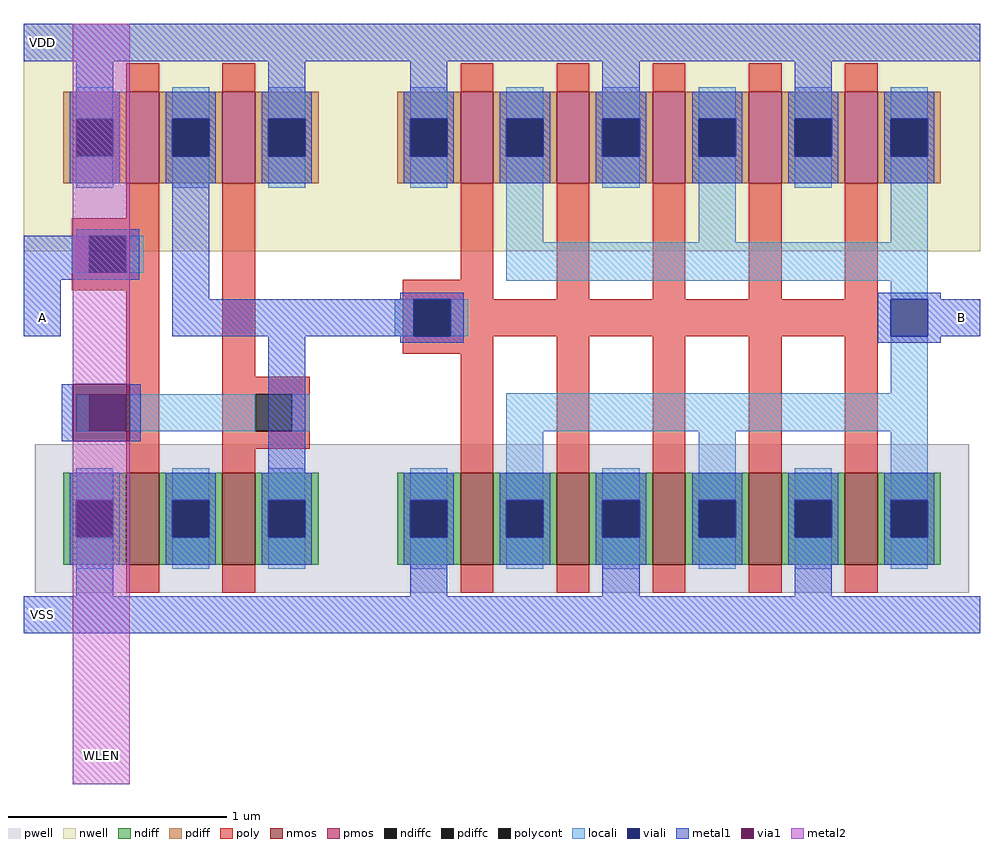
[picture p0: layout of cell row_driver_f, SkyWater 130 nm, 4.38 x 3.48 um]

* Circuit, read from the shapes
.subckt row_driver_f VDD A VSS WLEN B
XM1 n1 A VSS VSUBS sky130_fd_pr__nfet_01v8 w=0.42 l=0.15
XM2 n2 WLEN n1 VSUBS sky130_fd_pr__nfet_01v8 w=0.42 l=0.15
XM3 B n2 VSS VSUBS sky130_fd_pr__nfet_01v8 w=0.42 l=0.15 m=5
XM4 n2 A VDD n3 sky130_fd_pr__pfet_01v8 w=0.42 l=0.15
XM5 VDD WLEN n2 n3 sky130_fd_pr__pfet_01v8 w=0.42 l=0.15
XM6 B n2 VDD n3 sky130_fd_pr__pfet_01v8 w=0.42 l=0.15 m=5
.ends

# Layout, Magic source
magic
tech sky130A
magscale 1 2
<< nwell >>
rect 0 488 876 696
<< pwell >>
rect 10 175 866 311
<< nmos >>
rect 94 201 124 285
rect 182 201 212 285
rect 400 201 430 285
rect 488 201 518 285
rect 576 201 606 285
rect 664 201 694 285
rect 752 201 782 285
<< pmos >>
rect 94 550 124 634
rect 182 550 212 634
rect 400 550 430 634
rect 488 550 518 634
rect 576 550 606 634
rect 664 550 694 634
rect 752 550 782 634
<< ndiff >>
rect 36 260 94 285
rect 36 226 48 260
rect 82 226 94 260
rect 36 201 94 226
rect 124 260 182 285
rect 124 226 136 260
rect 170 226 182 260
rect 124 201 182 226
rect 212 260 270 285
rect 212 226 224 260
rect 258 226 270 260
rect 212 201 270 226
rect 342 260 400 285
rect 342 226 354 260
rect 388 226 400 260
rect 342 201 400 226
rect 430 260 488 285
rect 430 226 442 260
rect 476 226 488 260
rect 430 201 488 226
rect 518 260 576 285
rect 518 226 530 260
rect 564 226 576 260
rect 518 201 576 226
rect 606 260 664 285
rect 606 226 618 260
rect 652 226 664 260
rect 606 201 664 226
rect 694 260 752 285
rect 694 226 706 260
rect 740 226 752 260
rect 694 201 752 226
rect 782 260 840 285
rect 782 226 794 260
rect 828 226 840 260
rect 782 201 840 226
<< pdiff >>
rect 36 609 94 634
rect 36 575 48 609
rect 82 575 94 609
rect 36 550 94 575
rect 124 609 182 634
rect 124 575 136 609
rect 170 575 182 609
rect 124 550 182 575
rect 212 609 270 634
rect 212 575 224 609
rect 258 575 270 609
rect 212 550 270 575
rect 342 609 400 634
rect 342 575 354 609
rect 388 575 400 609
rect 342 550 400 575
rect 430 609 488 634
rect 430 575 442 609
rect 476 575 488 609
rect 430 550 488 575
rect 518 609 576 634
rect 518 575 530 609
rect 564 575 576 609
rect 518 550 576 575
rect 606 609 664 634
rect 606 575 618 609
rect 652 575 664 609
rect 606 550 664 575
rect 694 609 752 634
rect 694 575 706 609
rect 740 575 752 609
rect 694 550 752 575
rect 782 609 840 634
rect 782 575 794 609
rect 828 575 840 609
rect 782 550 840 575
<< ndiffc >>
rect 48 226 82 260
rect 136 226 170 260
rect 224 226 258 260
rect 354 226 388 260
rect 442 226 476 260
rect 530 226 564 260
rect 618 226 652 260
rect 706 226 740 260
rect 794 226 828 260
<< pdiffc >>
rect 48 575 82 609
rect 136 575 170 609
rect 224 575 258 609
rect 354 575 388 609
rect 442 575 476 609
rect 530 575 564 609
rect 618 575 652 609
rect 706 575 740 609
rect 794 575 828 609
<< poly >>
rect 94 634 124 660
rect 182 634 212 660
rect 400 634 430 660
rect 488 634 518 660
rect 576 634 606 660
rect 664 634 694 660
rect 752 634 782 660
rect 94 518 124 550
rect 44 502 124 518
rect 44 468 60 502
rect 94 468 124 502
rect 44 452 124 468
rect 94 285 124 452
rect 182 373 212 550
rect 400 462 430 550
rect 347 444 430 462
rect 488 444 518 550
rect 576 444 606 550
rect 664 444 694 550
rect 752 444 782 550
rect 347 410 357 444
rect 391 410 782 444
rect 347 394 430 410
rect 182 357 262 373
rect 182 323 212 357
rect 246 323 262 357
rect 182 307 262 323
rect 182 285 212 307
rect 400 285 430 394
rect 488 285 518 410
rect 576 285 606 410
rect 664 285 694 410
rect 752 285 782 410
rect 94 175 124 201
rect 182 175 212 201
rect 400 175 430 201
rect 488 175 518 201
rect 576 175 606 201
rect 664 175 694 201
rect 752 175 782 201
<< polycont >>
rect 60 468 94 502
rect 357 410 391 444
rect 212 323 246 357
<< locali >>
rect 48 609 82 638
rect 48 546 82 575
rect 136 609 170 638
rect 136 546 170 575
rect 224 609 258 638
rect 224 546 258 575
rect 354 609 388 638
rect 354 546 388 575
rect 442 609 476 638
rect 44 468 60 502
rect 94 468 110 502
rect 442 496 476 575
rect 530 609 564 638
rect 530 546 564 575
rect 618 609 652 638
rect 618 496 652 575
rect 706 609 740 638
rect 706 546 740 575
rect 794 609 828 638
rect 794 496 828 575
rect 442 461 828 496
rect 794 444 828 461
rect 340 410 357 444
rect 391 410 407 444
rect 794 358 828 410
rect 48 323 60 357
rect 94 323 212 357
rect 246 323 262 357
rect 442 323 828 358
rect 48 260 82 289
rect 48 197 82 226
rect 136 260 170 289
rect 136 197 170 226
rect 224 260 258 289
rect 224 197 258 226
rect 354 260 388 289
rect 354 197 388 226
rect 442 260 476 323
rect 442 197 476 226
rect 530 260 564 289
rect 530 197 564 226
rect 618 260 652 323
rect 618 197 652 226
rect 706 260 740 289
rect 706 197 740 226
rect 794 260 828 323
rect 794 197 828 226
<< viali >>
rect 48 575 82 609
rect 136 575 170 609
rect 224 575 258 609
rect 354 575 388 609
rect 442 575 476 609
rect 60 468 94 502
rect 530 575 564 609
rect 618 575 652 609
rect 706 575 740 609
rect 794 575 828 609
rect 357 410 391 444
rect 794 410 828 444
rect 60 323 94 357
rect 48 226 82 260
rect 136 226 170 260
rect 224 226 258 260
rect 354 226 388 260
rect 442 226 476 260
rect 530 226 564 260
rect 618 226 652 260
rect 706 226 740 260
rect 794 226 828 260
<< metal1 >>
rect 0 662 876 696
rect 48 634 82 662
rect 224 634 258 662
rect 354 634 388 662
rect 530 634 564 662
rect 706 634 740 662
rect 42 609 88 634
rect 42 575 48 609
rect 82 575 88 609
rect 42 550 88 575
rect 130 609 176 634
rect 130 575 136 609
rect 170 575 176 609
rect 130 550 176 575
rect 218 609 264 634
rect 218 575 224 609
rect 258 575 264 609
rect 218 550 264 575
rect 348 609 394 634
rect 348 575 354 609
rect 388 575 394 609
rect 348 550 394 575
rect 436 609 482 634
rect 436 575 442 609
rect 476 575 482 609
rect 436 550 482 575
rect 524 609 570 634
rect 524 575 530 609
rect 564 575 570 609
rect 524 550 570 575
rect 612 609 658 634
rect 612 575 618 609
rect 652 575 658 609
rect 612 550 658 575
rect 700 609 746 634
rect 700 575 706 609
rect 740 575 746 609
rect 700 550 746 575
rect 788 609 834 634
rect 788 575 794 609
rect 828 575 834 609
rect 788 550 834 575
rect 48 502 106 508
rect 0 468 60 502
rect 94 468 106 502
rect 0 462 106 468
rect 0 410 34 462
rect 136 444 170 550
rect 345 444 403 450
rect 136 410 357 444
rect 391 410 403 444
rect 35 314 45 366
rect 97 314 107 366
rect 224 285 258 410
rect 345 404 403 410
rect 782 444 840 450
rect 782 410 794 444
rect 828 410 876 444
rect 782 404 840 410
rect 42 260 88 285
rect 42 226 48 260
rect 82 226 88 260
rect 42 201 88 226
rect 130 260 176 285
rect 130 226 136 260
rect 170 226 176 260
rect 130 201 176 226
rect 218 260 264 285
rect 218 226 224 260
rect 258 226 264 260
rect 218 201 264 226
rect 348 260 394 285
rect 348 226 354 260
rect 388 226 394 260
rect 348 201 394 226
rect 436 260 482 285
rect 436 226 442 260
rect 476 226 482 260
rect 436 201 482 226
rect 524 260 570 285
rect 524 226 530 260
rect 564 226 570 260
rect 524 201 570 226
rect 612 260 658 285
rect 612 226 618 260
rect 652 226 658 260
rect 612 201 658 226
rect 700 260 746 285
rect 700 226 706 260
rect 740 226 746 260
rect 700 201 746 226
rect 788 260 834 285
rect 788 226 794 260
rect 828 226 834 260
rect 788 201 834 226
rect 48 172 82 201
rect 354 172 388 201
rect 530 172 564 201
rect 706 172 740 201
rect 0 138 876 172
<< via1 >>
rect 45 357 97 366
rect 45 323 60 357
rect 60 323 94 357
rect 94 323 97 357
rect 45 314 97 323
<< metal2 >>
rect 45 366 97 696
rect 45 0 97 314
<< labels >>
flabel metal1 s 0 662 34 696 0 FreeSans 44 0 0 0 VDD
port 1 nsew
flabel metal1 s 0 410 34 444 0 FreeSans 44 0 0 0 A
port 2 nsew
flabel metal1 s 0 138 34 172 0 FreeSans 44 0 0 0 VSS
port 3 nsew
flabel metal2 s 45 0 97 52 0 FreeSans 44 0 0 0 WLEN
port 4 nsew
flabel metal1 s 842 410 876 444 0 FreeSans 44 0 0 0 B
port 5 nsew
<< end >>
